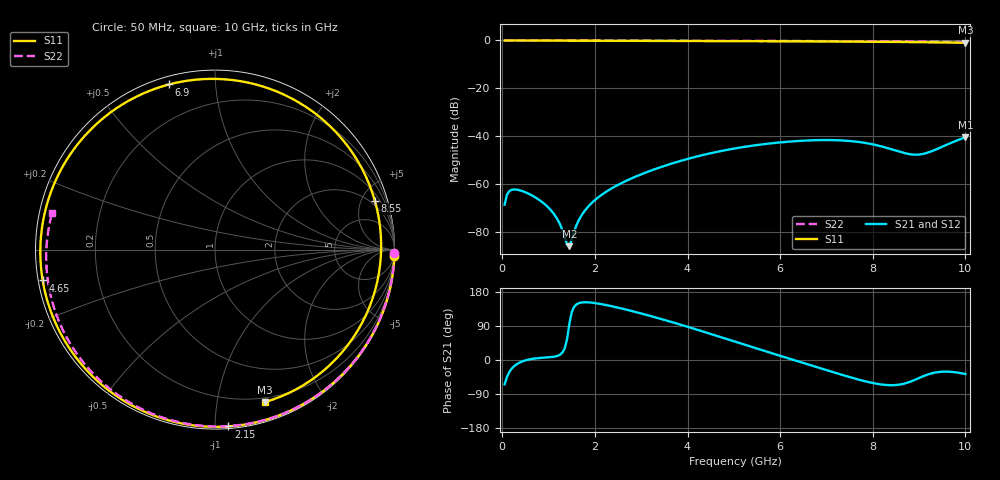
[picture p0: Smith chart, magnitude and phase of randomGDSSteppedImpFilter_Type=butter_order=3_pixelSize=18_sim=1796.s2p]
! freq	dB(S11)	phase(S11)	dB(S12)	phase(S12)
!  dB(S21)	phase(S21)	dB(S22)	phase(S22)
!S-par simulation data
#  GHz  S  DB  R 50
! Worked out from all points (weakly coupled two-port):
!   200 points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, 50 MHz to 10 GHz, reference 50 ohm
!   highest |S21| = -40.44 dB at 10 GHz (marker M1); lowest = -86.0 dB at 1.45 GHz (marker M2)
!   lowest |S11| = -1.0 dB at 10 GHz (marker M3), VSWR 17.86, Z = 8.07 - j68.3 ohm
!   |S11| at or under -10 dB: nowhere
!   |S22| runs from -0.6 to 0.0 dB; largest |S21 - S12| = 0
!   S11 on the Smith chart (normalised r, x): 50 MHz: 0, -54; 2.15 GHz: 0.01, -1.08; 4.65 GHz: 0.01, -0.09; 6.9 GHz: 0.04, +0.76; 8.55 GHz: 1.56, +6.36; 10 GHz: 0.16, -1.37
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0.05  -0.00 -2.1  -68.60 -64.2  -68.60 -64.2  -0.00 -1.1
0.1  -0.00 -4.2  -64.44 -45.0  -64.44 -45.0  -0.00 -2.1
0.15  -0.00 -6.3  -62.98 -32.1  -62.98 -32.1  -0.00 -3.2
0.5  -0.02 -21.0  -63.43 -0.9  -63.43 -0.9  -0.01 -10.6
0.95  -0.05 -39.5  -68.98 6.5  -68.98 6.5  -0.02 -20.1
1.15  -0.06 -47.5  -73.47 9.4  -73.47 9.4  -0.03 -24.3
1.3  -0.07 -53.5  -79.31 19.9  -79.31 19.9  -0.03 -27.4
1.45  -0.07 -59.3  -85.95 96.6  -85.95 96.6  -0.04 -30.5
1.55  -0.08 -63.2  -79.84 140.1  -79.84 140.1  -0.04 -32.6
1.75  -0.09 -70.8  -71.97 152.2  -71.97 152.2  -0.05 -36.7
2.15  -0.10 -85.6  -64.43 147.2  -64.43 147.2  -0.06 -44.8
3.4  -0.15 -128.9  -53.07 109.3  -53.07 109.3  -0.09 -69.5
4.65  -0.22 -169.9  -46.49 62.9  -46.49 62.9  -0.14 -92.9
5.05  -0.24 176.8  -45.02 47.5  -45.02 47.5  -0.15 -100.2
5.9  -0.31 146.6  -42.79 14.8  -42.79 14.8  -0.20 -115.5
6.7  -0.38 114.4  -41.70 -15.4  -41.70 -15.4  -0.25 -129.7
6.9  -0.40 105.5  -41.61 -22.9  -41.61 -22.9  -0.27 -133.2
7.65  -0.48 68.6  -42.30 -50.3  -42.30 -50.3  -0.34 -146.7
8.35  -0.58 29.0  -45.15 -66.4  -45.15 -66.4  -0.41 -159.6
8.55  -0.62 16.9  -46.33 -65.4  -46.33 -65.4  -0.43 -163.4
9.2  -0.75 -23.4  -46.78 -37.7  -46.78 -37.7  -0.51 -176.0
10  -0.97 -71.9  -40.44 -37.0  -40.44 -37.0  -0.63 167.3
